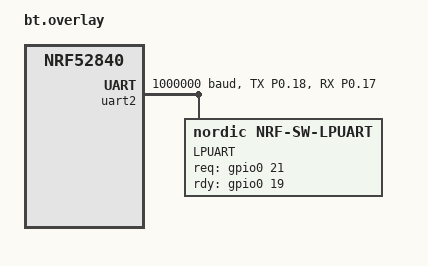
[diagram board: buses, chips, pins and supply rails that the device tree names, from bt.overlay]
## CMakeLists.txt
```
#
# Copyright (c) 2020 Nordic Semiconductor
#
# SPDX-License-Identifier: LicenseRef-Nordic-5-Clause
#

cmake_minimum_required(VERSION 3.20.0)

find_package(Zephyr REQUIRED HINTS $ENV{ZEPHYR_BASE})
project(MOSH)
target_include_directories(app PRIVATE
  ${CMAKE_CURRENT_SOURCE_DIR}/src
  ${CMAKE_CURRENT_SOURCE_DIR}/iperf
  ${CMAKE_CURRENT_SOURCE_DIR}/ping
  ${CMAKE_CURRENT_SOURCE_DIR}/utils)

target_sources(app PRIVATE src/main.c)
target_sources(app PRIVATE src/shell.c)

add_subdirectory(src/print)
add_subdirectory(src/utils)
add_subdirectory(src/uart)
add_subdirectory(src/at)
add_subdirectory_ifdef(CONFIG_MOSH_NRF91_NON_OFFLOADING_DEV src/drivers)
add_subdirectory_ifdef(CONFIG_MOSH_WORKER_THREADS src/th)
add_subdirectory_ifdef(CONFIG_MOSH_SOCK src/sock)
add_subdirectory_ifdef(CONFIG_MOSH_LINK src/link)
add_subdirectory_ifdef(CONFIG_MOSH_PING src/ping)
add_subdirectory_ifdef(CONFIG_MOSH_GNSS src/gnss)
add_subdirectory_ifdef(CONFIG_MOSH_SMS src/sms)
add_subdirectory_ifdef(CONFIG_MOSH_LOCATION src/location)
add_subdirectory_ifdef(CONFIG_MOSH_PPP src/ppp)
add_subdirectory_ifdef(CONFIG_MOSH_FOTA src/fota)
add_subdirectory_ifdef(CONFIG_MOSH_REST src/rest)
add_subdirectory_ifdef(CONFIG_MOSH_STARTUP_CMDS src/startup_cmd)
add_subdirectory(src/cloud)

zephyr_include_directories_ifdef(CONFIG_MEMFAULT config)

if(NOT ENV{PROJECT_NAME})
  zephyr_compile_definitions(
    PROJECT_NAME=${CMAKE_PROJECT_NAME}
  )
endif()
```

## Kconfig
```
#
# Copyright (c) 2020 Nordic Semiconductor ASA
#
# SPDX-License-Identifier: LicenseRef-Nordic-5-Clause
#

source "Kconfig.zephyr"

menu "Nordic Modem Shell config"

config MOSH_IPERF3
	bool "iPerf3"
	default y
	select NRF_IPERF3

config NRF_IPERF3_PROMPTLESS
	bool
	default y

config MOSH_SOCK
	bool "Socket tool"
	default y
	help
	  Socket tool with TCP, UDP, RAW, IPv4, IPv6 and packet socket support.

config MOSH_PING
	bool "ICMP ping"
	default y
	help
	  Ping is a tool for testing the reachability of a host on an IP network.

config MOSH_LINK
	bool "Link control"
	depends on LTE_LINK_CONTROL
	depends on MODEM_INFO
	depends on SETTINGS
	default y
	help
	  Link control changes and queries the state of the LTE connection.

config MOSH_CURL
	bool "cURL"
	default y
	select NRF_CURL

config NRF_CURL_PROMPTLESS
	bool
	default y

config MOSH_GNSS
	bool "GNSS"
	default y
	help
	  GNSS feature for searching the location of the device.

config MOSH_PPP
	bool "PPP"
	help
	  Point-to-Point Protocol for enabling dial-up access to the Internet.

config MOSH_SMS
	bool "SMS"
	default y
	help
	  SMS tool for sending and receiving SMS messages.

config MOSH_LOCATION
	bool "Location"
	default y
	select LOCATION
	select NRF_CLOUD_LOCATION if MOSH_CLOUD_MQTT && (LOCATION_METHOD_CELLULAR || LOCATION_METHOD_WIFI)
	help
	  Tool for location queries via location library.

config MOSH_FOTA
	bool "FOTA"
	default y
	help
	  FOTA for performing software updates over-the-air for both modem and application side.

config MOSH_REST
	bool "REST client"
	default y
	select REST_CLIENT
	help
	  REST client for sending and receiving simple REST requests/responses.

config MOSH_CLOUD_REST
	bool "nRFCloud commands over REST"
	default y
	select NRF_CLOUD_REST
	select MODEM_JWT
	select NRF_CLOUD_AGPS_FILTERED if NRF_CLOUD_AGPS && !NRF_CLOUD_MQTT
	select NRF_CLOUD_AGPS_FILTERED_RUNTIME if NRF_CLOUD_AGPS && !NRF_CLOUD_MQTT

config MOSH_CLOUD_MQTT
	bool "MQTT connection to nRFCloud"
	select NRF_CLOUD_MQTT
	help
	  MQTT connection to nRFCloud.

config MOSH_CLOUD_LWM2M
	bool "Cloud connection using LwM2M"
	help
	  Cloud connection using LwM2M.

config MOSH_AT_CMD_MODE
	bool "Specific AT command mode"
	default y

config MOSH_PRINT_BUFFER_SIZE
	int "Buffer size used when printing modem shell output"
	default 1024
	help
	  If the printed string exceeds this buffer, an error message is printed first and
	  then the requested string cut into the length of this buffer.

config MOSH_COMMON_WORKQUEUE_STACK_SIZE
	int "Common workqueue stack size"
	default 7168 if MOSH_CLOUD_REST || MOSH_CLOUD_MQTT
	default 6144 if MOSH_STARTUP_CMDS && MOSH_CURL
	default 4096

config MOSH_COMMON_WORKQUEUE_PRIORITY
	int "Common workqueue priority"
	default 5

if MOSH_IPERF3 || MOSH_PING
menu "MoSH iperf3 and ping command selections"

config MOSH_WORKER_THREADS
	bool "Possibility to run iperf3 or ping instances in separate threads"
	default y

config MOSH_STARTUP_CMDS
	bool "Possibility to run stored MoSh commands from settings after bootup"
	default y

config MOSH_NRF91_NON_OFFLOADING_DEV
	bool "Possibility to run iperf3 with Zephyr TCP/IP stack"

endmenu
endif

if MOSH_AT_CMD_MODE
choice
	prompt "Command termination"
	default MOSH_AT_CMD_MODE_CR_LF_TERMINATION
	help
		Sets the command termination ending from the serial terminal
		Levels are:
		-  NULL Termination
		-  CR Termination
		-  LF Termination
		-  CR+LF Termination
	config MOSH_AT_CMD_MODE_NULL_TERMINATION
		bool "NULL Termination"
	config MOSH_AT_CMD_MODE_CR_TERMINATION
		bool "CR Termination"
	config MOSH_AT_CMD_MODE_LF_TERMINATION
		bool "LF Termination"
	config MOSH_AT_CMD_MODE_CR_LF_TERMINATION
		bool "CR+LF Termination"
endchoice
config MOSH_AT_CMD_MODE_TERMINATION
	int
	default 0 if MOSH_AT_CMD_MODE_NULL_TERMINATION
	default 1 if MOSH_AT_CMD_MODE_CR_TERMINATION
	default 2 if MOSH_AT_CMD_MODE_LF_TERMINATION
	default 3 if MOSH_AT_CMD_MODE_CR_LF_TERMINATION
endif

if MOSH_LINK
menu "MoSH link control selections"

config MOSH_LINK_SETT_NORMAL_MODE_AT_CMD_STR_LEN
	int "Link settings AT command length"
	default 127
	help
	  String length for custom AT commands stored into settings to be used
	  when going to normal mode.

endmenu
endif #MOSH_LINK

if MOSH_WORKER_THREADS

config MOSH_WORKER_THREADS_OUTPUT_BUFFER_SIZE
	int "Buffer size for storing output of the background thread commands"
	default 4096

config MOSH_WORKER_THREADS_STACK_SIZE
	int "Worker thread stack size"
	default 4096

endif #MOSH_WORKER_THREADS

if MOSH_CLOUD_LWM2M

config MOSH_LWM2M_PSK
	string "LwM2M pre-shared key for communication"
	help
	  Pre-shared key must be identical to the PSK registered with the device on the LwM2M server.
	  Use the hexadecimal representation.

config MOSH_LWM2M_ENDPOINT_PREFIX
	string "Prefix used in the LwM2M endpoint name"
	default "urn:imei:"
	help
	  Sets the prefix of the endpoint name used when connecting to the LwM2M server.

# Make AVSystem the default LwM2M server.
config LWM2M_CLIENT_UTILS_SERVER
	string "LwM2M server address"
	default "coaps://eu.iot.avsystem.cloud:5684"
	help
	  Kconfig redefinition, please see the help text of the original definition.

endif # MOSH_CLOUD_LWM2M

endmenu # Modem Shell
```

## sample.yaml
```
sample:
  name: modem_shell Sample
tests:
  sample.nrf9160.modem_shell:
    build_only: true
    integration_platforms:
      - nrf9160dk_nrf9160_ns
      - nrf9161dk_nrf9161_ns
    platform_allow: nrf9160dk_nrf9160_ns nrf9161dk_nrf9161_ns
    tags: ci_build
  sample.nrf9160.modem_shell_debug:
    build_only: true
    extra_args: OVERLAY_CONFIG=overlay-debug.conf
    integration_platforms:
      - nrf9160dk_nrf9160_ns
      - nrf9161dk_nrf9161_ns
    platform_allow: nrf9160dk_nrf9160_ns nrf9161dk_nrf9161_ns
    tags: ci_build
  sample.nrf9160.modem_shell.cloud_mqtt_only:
    build_only: true
    extra_args: OVERLAY_CONFIG=overlay-cloud_mqtt.conf
    integration_platforms:
      - nrf9160dk_nrf9160_ns
      - nrf9161dk_nrf9161_ns
    platform_allow: nrf9160dk_nrf9160_ns nrf9161dk_nrf9161_ns
    tags: ci_build
  sample.nrf9160.modem_shell.cloud_mqtt_rest:
    build_only: true
    extra_args: CONFIG_MOSH_CLOUD_MQTT=y CONFIG_MOSH_CLOUD_REST=y
    integration_platforms:
      - nrf9160dk_nrf9160_ns
      - nrf9161dk_nrf9161_ns
    platform_allow: nrf9160dk_nrf9160_ns nrf9161dk_nrf9161_ns
    tags: ci_build
  sample.nrf9160.modem_shell.non_offloading_ip:
    build_only: true
    extra_args: OVERLAY_CONFIG=overlay-non-offloading.conf
    integration_platforms:
      - nrf9160dk_nrf9160_ns
      - nrf9161dk_nrf9161_ns
    platform_allow: nrf9160dk_nrf9160_ns nrf9161dk_nrf9161_ns
    tags: ci_build
  sample.nrf9160.modem_shell.nrf7002ek_wifi:
    build_only: true
    integration_platforms:
      - nrf9160dk_nrf9160_ns
      - nrf9161dk_nrf9161_ns
    platform_allow: nrf9160dk_nrf9160_ns nrf9161dk_nrf9161_ns
    extra_args: SHIELD=nrf7002ek OVERLAY_CONFIG=overlay-nrf7002ek-wifi-scan-only.conf
                DTC_OVERLAY_FILE="nrf9160dk_with_nrf7002ek.overlay"
    tags: ci_build
  sample.nrf9160.modem_shell.nrf7000ek_wifi:
    build_only: true
    integration_platforms:
      - nrf9160dk_nrf9160_ns
      - nrf9161dk_nrf9161_ns
    platform_allow: nrf9160dk_nrf9160_ns nrf9161dk_nrf9161_ns
    extra_args: SHIELD=nrf7002ek_nrf7000 OVERLAY_CONFIG=overlay-nrf7002ek-wifi-scan-only.conf
                DTC_OVERLAY_FILE="nrf9160dk_with_nrf7002ek.overlay" CONFIG_WPA_SUPP=n
    tags: ci_build
  sample.nrf9160.modem_shell.nrf7001ek_wifi:
    build_only: true
    integration_platforms:
      - nrf9160dk_nrf9160_ns
      - nrf9161dk_nrf9161_ns
    platform_allow: nrf9160dk_nrf9160_ns nrf9161dk_nrf9161_ns
    extra_args: SHIELD=nrf7002ek_nrf7001 OVERLAY_CONFIG=overlay-nrf7002ek-wifi-scan-only.conf
                DTC_OVERLAY_FILE="nrf9160dk_with_nrf7002ek.overlay"
    tags: ci_build
  sample.nrf9160.modem_shell.nrf7002ek_wifi-debug:
    build_only: true
    integration_platforms:
      - nrf9160dk_nrf9160_ns
      - nrf9161dk_nrf9161_ns
    platform_allow: nrf9160dk_nrf9160_ns nrf9161dk_nrf9161_ns
    extra_args: SHIELD=nrf7002ek
                OVERLAY_CONFIG="overlay-nrf7002ek-wifi-scan-only.conf;overlay-debug.conf"
                DTC_OVERLAY_FILE="nrf9160dk_with_nrf7002ek.overlay"
    tags: ci_build
  sample.nrf9160.modem_shell.esp_wifi:
    build_only: true
    extra_args: OVERLAY_CONFIG=overlay-esp-wifi.conf DTC_OVERLAY_FILE="esp_8266_nrf9160ns.overlay"
    integration_platforms:
      - nrf9160dk_nrf9160_ns
      - nrf9161dk_nrf9161_ns
    platform_allow: nrf9160dk_nrf9160_ns nrf9161dk_nrf9161_ns
    tags: ci_build
  sample.nrf9160.modem_shell.fota:
    build_only: true
    extra_args: OVERLAY_CONFIG=overlay-app_fota.conf
    integration_platforms:
      - nrf9160dk_nrf9160_ns
      - nrf9161dk_nrf9161_ns
    platform_allow: nrf9160dk_nrf9160_ns nrf9161dk_nrf9161_ns
    tags: ci_build
  sample.nrf9160.modem_shell.carrier:
    build_only: true
    extra_args: OVERLAY_CONFIG=overlay-carrier.conf
    integration_platforms:
      - nrf9160dk_nrf9160_ns
      - nrf9161dk_nrf9161_ns
    platform_allow: nrf9160dk_nrf9160_ns nrf9161dk_nrf9161_ns
    tags: ci_build
  sample.nrf9160.modem_shell.lwm2m:
    build_only: true
    extra_configs:
      - CONFIG_MOSH_LWM2M_PSK="000102030405060708090a0b0c0d0e0f"
    extra_args: OVERLAY_CONFIG=overlay-lwm2m.conf
    integration_platforms:
      - nrf9160dk_nrf9160_ns
      - nrf9161dk_nrf9161_ns
    platform_allow: nrf9160dk_nrf9160_ns nrf9161dk_nrf9161_ns
    tags: ci_build
  sample.nrf9160.modem_shell.lwm2m_bootstrap:
    build_only: true
    extra_configs:
      - CONFIG_MOSH_LWM2M_PSK="000102030405060708090a0b0c0d0e0f"
    extra_args: OVERLAY_CONFIG="overlay-lwm2m.conf;overlay-lwm2m_bootstrap.conf"
    integration_platforms:
      - nrf9160dk_nrf9160_ns
      - nrf9161dk_nrf9161_ns
    platform_allow: nrf9160dk_nrf9160_ns nrf9161dk_nrf9161_ns
    tags: ci_build
  sample.nrf9160.modem_shell.lwm2m_pgps:
    build_only: true
    extra_configs:
      - CONFIG_MOSH_LWM2M_PSK="000102030405060708090a0b0c0d0e0f"
    extra_args: OVERLAY_CONFIG="overlay-lwm2m.conf;overlay-lwm2m_pgps.conf;overlay-pgps.conf"
    integration_platforms:
      - nrf9160dk_nrf9160_ns
      - nrf9161dk_nrf9161_ns
    platform_allow: nrf9160dk_nrf9160_ns nrf9161dk_nrf9161_ns
    tags: ci_build
  sample.nrf9160.modem_shell.pgps:
    build_only: true
    extra_args: OVERLAY_CONFIG=overlay-pgps.conf
    integration_platforms:
      - nrf9160dk_nrf9160_ns
      - nrf9161dk_nrf9161_ns
    platform_allow: nrf9160dk_nrf9160_ns nrf9161dk_nrf9161_ns
    tags: ci_build
  sample.nrf9160.modem_shell.location_service_ext:
    build_only: true
    extra_configs:
      - CONFIG_LOCATION_SERVICE_EXTERNAL=y
    extra_args: OVERLAY_CONFIG=overlay-cloud_mqtt.conf
    integration_platforms:
      - nrf9160dk_nrf9160_ns
      - nrf9161dk_nrf9161_ns
    platform_allow: nrf9160dk_nrf9160_ns nrf9161dk_nrf9161_ns
    tags: ci_build
  sample.nrf9160.modem_shell.location_service_ext_pgps_nrf7002ek_wifi:
    build_only: true
    extra_configs:
      - CONFIG_LOCATION_SERVICE_EXTERNAL=y
      - CONFIG_NRF_CLOUD_PGPS_TRANSPORT_NONE=y
    extra_args: SHIELD=nrf7002ek
                OVERLAY_CONFIG="overlay-cloud_mqtt.conf;overlay-pgps.conf;overlay-nrf7002ek-wifi-scan-only.conf"
                DTC_OVERLAY_FILE="nrf9160dk_with_nrf7002ek.overlay"
    integration_platforms:
      - nrf9160dk_nrf9160_ns
      - nrf9161dk_nrf9161_ns
    platform_allow: nrf9160dk_nrf9160_ns nrf9161dk_nrf9161_ns
    tags: ci_build
  sample.nrf9160.modem_shell.ppp:
    build_only: true
    extra_args: OVERLAY_CONFIG=overlay-ppp.conf DTC_OVERLAY_FILE="ppp.overlay"
    integration_platforms:
      - nrf9160dk_nrf9160_ns
      - nrf9161dk_nrf9161_ns
    platform_allow: nrf9160dk_nrf9160_ns nrf9161dk_nrf9161_ns
    tags: ci_build
  sample.nrf9160.modem_shell.bt:
    build_only: true
    extra_args: OVERLAY_CONFIG=overlay-bt.conf DTC_OVERLAY_FILE="bt.overlay"
    integration_platforms:
      - nrf9160dk_nrf9160_ns
    platform_allow: nrf9160dk_nrf9160_ns
    tags: ci_build
  sample.nrf9160.modem_shell.rtt:
    build_only: true
    extra_args: OVERLAY_CONFIG=overlay-rtt.conf
    integration_platforms:
      - nrf9160dk_nrf9160_ns
      - nrf9161dk_nrf9161_ns
    platform_allow: nrf9160dk_nrf9160_ns nrf9161dk_nrf9161_ns
    tags: ci_build
  sample.nrf9160.modem_shell.thingy91:
    build_only: true
    integration_platforms:
      - thingy91_nrf9160_ns
    platform_allow: thingy91_nrf9160_ns
    tags: ci_build
  sample.nrf9160.modem_shell.memfault_modem_trace:
    build_only: true
    integration_platforms:
      - nrf9160dk_nrf9160_ns
    platform_allow: nrf9160dk_nrf9160_ns
    extra_args: OVERLAY_CONFIG="overlay-modem-trace-flash.conf;overlay-memfault.conf"
                DTC_OVERLAY_FILE="nrf9160dk_ext_flash.overlay"
    extra_configs:
      - CONFIG_MEMFAULT_NCS_PROJECT_KEY="0123456789abcdef0123456789abcdef"
    tags: ci_build
  sample.nrf9161.modem_shell.memfault_modem_trace:
    build_only: true
    integration_platforms:
      - nrf9161dk_nrf9161_ns
    platform_allow: nrf9161dk_nrf9161_ns
    extra_args: OVERLAY_CONFIG="overlay-modem-trace-flash.conf;overlay-memfault.conf"
                DTC_OVERLAY_FILE="nrf9161dk_ext_flash.overlay"
    extra_configs:
      - CONFIG_MEMFAULT_NCS_PROJECT_KEY="0123456789abcdef0123456789abcdef"
    tags: ci_build
  sample.nrf9160.modem_shell.memfault_modem_trace_ram:
    build_only: true
    integration_platforms:
      - nrf9160dk_nrf9160_ns
      - nrf9161dk_nrf9161_ns
    platform_allow: nrf9160dk_nrf9160_ns nrf9161dk_nrf9161_ns
    extra_args: OVERLAY_CONFIG="overlay-modem-trace-ram.conf;overlay-memfault.conf"
    extra_configs:
      - CONFIG_MEMFAULT_NCS_PROJECT_KEY="0123456789abcdef0123456789abcdef"
    tags: ci_build

  # Configurations for different location method combinations
  sample.nrf9160.modem_shell.location_gnss_wifi_no_cellular:
    build_only: true
    integration_platforms:
      - nrf9160dk_nrf9160_ns
      - nrf9161dk_nrf9161_ns
    platform_allow: nrf9160dk_nrf9160_ns nrf9161dk_nrf9161_ns
    extra_configs:
      - CONFIG_LOCATION_METHOD_GNSS=y
      - CONFIG_LOCATION_METHOD_CELLULAR=n
      - CONFIG_LOCATION_METHOD_WIFI=y
    extra_args: SHIELD=nrf7002ek OVERLAY_CONFIG=overlay-nrf7002ek-wifi-scan-only.conf
                DTC_OVERLAY_FILE="nrf9160dk_with_nrf7002ek.overlay"
    tags: ci_build
  sample.nrf9160.modem_shell.location_wifi_cellular_no_gnss:
    build_only: true
    integration_platforms:
      - nrf9160dk_nrf9160_ns
      - nrf9161dk_nrf9161_ns
    platform_allow: nrf9160dk_nrf9160_ns nrf9161dk_nrf9161_ns
    extra_configs:
      - CONFIG_LOCATION_METHOD_GNSS=n
      - CONFIG_LOCATION_METHOD_CELLULAR=y
      - CONFIG_LOCATION_METHOD_WIFI=y
    extra_args: SHIELD=nrf7002ek OVERLAY_CONFIG=overlay-nrf7002ek-wifi-scan-only.conf
                DTC_OVERLAY_FILE="nrf9160dk_with_nrf7002ek.overlay"
    tags: ci_build
  sample.nrf9160.modem_shell.location_wifi_no_cellular_no_gnss:
    build_only: true
    integration_platforms:
      - nrf9160dk_nrf9160_ns
      - nrf9161dk_nrf9161_ns
    platform_allow: nrf9160dk_nrf9160_ns nrf9161dk_nrf9161_ns
    extra_configs:
      - CONFIG_LOCATION_METHOD_GNSS=n
      - CONFIG_LOCATION_METHOD_CELLULAR=n
      - CONFIG_LOCATION_METHOD_WIFI=y
    extra_args: SHIELD=nrf7002ek OVERLAY_CONFIG=overlay-nrf7002ek-wifi-scan-only.conf
                DTC_OVERLAY_FILE="nrf9160dk_with_nrf7002ek.overlay"
    tags: ci_build
  sample.nrf9160.modem_shell.location_gnss_no_wifi_no_cellular:
    build_only: true
    integration_platforms:
      - nrf9160dk_nrf9160_ns
      - nrf9161dk_nrf9161_ns
    platform_allow: nrf9160dk_nrf9160_ns nrf9161dk_nrf9161_ns
    extra_configs:
      - CONFIG_LOCATION_METHOD_GNSS=y
      - CONFIG_LOCATION_METHOD_CELLULAR=n
      - CONFIG_LOCATION_METHOD_WIFI=n
    tags: ci_build
  sample.nrf9160.modem_shell.location_cellular_no_wifi_no_gnss:
    build_only: true
    integration_platforms:
      - nrf9160dk_nrf9160_ns
      - nrf9161dk_nrf9161_ns
    platform_allow: nrf9160dk_nrf9160_ns nrf9161dk_nrf9161_ns
    extra_configs:
      - CONFIG_LOCATION_METHOD_GNSS=n
      - CONFIG_LOCATION_METHOD_CELLULAR=y
      - CONFIG_LOCATION_METHOD_WIFI=n
    tags: ci_build

  # Configurations with modem UART traces to make sure they fit into image.
  # Basic UART trace configuration is tested in sample.nrf9160.modem_shell.integration_config.
  sample.nrf9160.modem_shell_modem_uart_trace:
    build_only: true
    extra_args: CONFIG_NRF_MODEM_LIB_TRACE=y
    integration_platforms:
      - nrf9160dk_nrf9160_ns
      - nrf9161dk_nrf9161_ns
    platform_allow: nrf9160dk_nrf9160_ns nrf9161dk_nrf9161_ns
    tags: ci_build
  sample.nrf9160.modem_shell.non_offloading_ip_modem_uart_trace:
    build_only: true
    extra_args: OVERLAY_CONFIG=overlay-non-offloading.conf CONFIG_NRF_MODEM_LIB_TRACE=y
    integration_platforms:
      - nrf9160dk_nrf9160_ns
      - nrf9161dk_nrf9161_ns
    platform_allow: nrf9160dk_nrf9160_ns nrf9161dk_nrf9161_ns
    tags: ci_build
  sample.nrf9160.modem_shell.thingy91_modem_uart_trace:
    build_only: true
    extra_args: CONFIG_NRF_MODEM_LIB_TRACE=y
    integration_platforms:
      - thingy91_nrf9160_ns
    platform_allow: thingy91_nrf9160_ns
    tags: ci_build

  # Configuration which will be used by the CI integration job to verify PRs
  sample.nrf9160.modem_shell.integration_config:
    build_only: true
    extra_configs:
      - CONFIG_LTE_NETWORK_MODE_LTE_M=y
      - CONFIG_MODEM_ANTENNA_GNSS_EXTERNAL=y
      - CONFIG_NRF_MODEM_LIB_TRACE=y
    integration_platforms:
      - nrf9160dk_nrf9160_ns
    platform_allow: nrf9160dk_nrf9160_ns nrf9161dk_nrf9161_ns
    tags: ci_build
```

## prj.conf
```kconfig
#
# Copyright (c) 2020 Nordic Semiconductor ASA
#
# SPDX-License-Identifier: LicenseRef-Nordic-5-Clause
#
# General config

CONFIG_MOSH_IPERF3=y
CONFIG_MOSH_SOCK=y
CONFIG_MOSH_PING=y
CONFIG_MOSH_CURL=y
CONFIG_MOSH_LINK=y
CONFIG_MOSH_SMS=y
CONFIG_MOSH_GNSS=y
CONFIG_MOSH_LOCATION=y

# Stacks and heaps
CONFIG_MAIN_STACK_SIZE=4096
CONFIG_HEAP_MEM_POOL_SIZE=8192

# System queue is used e.g. by AT monitor and SMS lib
CONFIG_SYSTEM_WORKQUEUE_STACK_SIZE=2048

# Shell configurations
CONFIG_SHELL=y
CONFIG_SHELL_WILDCARD=n
CONFIG_SHELL_PROMPT_UART="mosh:~$ "
CONFIG_SHELL_ARGC_MAX=40
# Command line buffer is set this large to enable writing of certificates and injecting A-GPS data on command line.
CONFIG_SHELL_CMD_BUFF_SIZE=3584
# Shell stack has impact for modem shell application, not CONFIG_MAIN_STACK_SIZE
CONFIG_SHELL_STACK_SIZE=9216
# Shell RX buffer needs to be increased to avoid problems with test automation
CONFIG_SHELL_BACKEND_SERIAL_RX_RING_BUFFER_SIZE=512
# LTE shell is unnecessary with Modem Shell
CONFIG_LTE_SHELL=n
# Enable use of vsnprintfcb() for extending mosh_print() format
CONFIG_CBPRINTF_LIBC_SUBSTS=y

CONFIG_MINIMAL_LIBC=n
CONFIG_NEWLIB_LIBC=y
CONFIG_NEWLIB_LIBC_FLOAT_SCANF=y
CONFIG_NEWLIB_LIBC_FLOAT_PRINTF=y
CONFIG_FPU=y
CONFIG_CJSON_LIB=y

# Getopt
CONFIG_GETOPT_LIB=y
# Need to disable devmem shell since it enforces Zephyr's internal version of getopt
CONFIG_DEVMEM_SHELL=n

# Device power management
CONFIG_PM_DEVICE=y

# Modem info
CONFIG_MODEM_INFO=y

# Modem key management
CONFIG_MODEM_KEY_MGMT=y

# Network
CONFIG_NETWORKING=y
CONFIG_NET_NATIVE=n
CONFIG_NET_SOCKETS=y
CONFIG_NET_SOCKETS_OFFLOAD=y
CONFIG_NET_SOCKETS_POSIX_NAMES=n
# Native IPv6 is enabled by default, disable it because we don't need it
CONFIG_NET_IPV6=n

CONFIG_POSIX_API=y
CONFIG_PTHREAD_IPC=n # There are issues with posix api if this is set
CONFIG_POSIX_MAX_FDS=10
# Need to be the same as MAX_FDS
CONFIG_NET_SOCKETS_POLL_MAX=10

# Modem library
CONFIG_NRF_MODEM_LIB=y
CONFIG_NRF_MODEM_LIB_SHMEM_TX_SIZE=22528
CONFIG_NRF_MODEM_LIB_SHMEM_RX_SIZE=8192
CONFIG_NRF_MODEM_LIB_ON_FAULT_APPLICATION_SPECIFIC=y
# Enable modem UART traces
CONFIG_NRF_MODEM_LIB_TRACE=n

# AT monitor library
CONFIG_AT_MONITOR=y

# Increase AT monitor heap because %NCELLMEAS notifications can be long.
# Note: with legacy NCELLMEAS types, 512 is enough, but with GCI search types
# it could be even longer: theoretical maximum of 4020 bytes.
CONFIG_AT_MONITOR_HEAP_SIZE=4096

# PDN library
CONFIG_PDN=y
CONFIG_PDN_ESM_STRERROR=y

# SMS
CONFIG_SMS=y

# LTE link control
CONFIG_LTE_LINK_CONTROL=y
CONFIG_LTE_NETWORK_MODE_LTE_M_GPS=y
CONFIG_LTE_MODE_PREFERENCE_AUTO=y

CONFIG_LTE_AUTO_INIT_AND_CONNECT=n
CONFIG_LTE_NETWORK_USE_FALLBACK=n

#MOSH is having own commands to enable these at runtime:
CONFIG_LTE_LC_MODEM_SLEEP_NOTIFICATIONS=n
CONFIG_LTE_LC_TAU_PRE_WARNING_NOTIFICATIONS=n

#Minimum values for thresholds:
CONFIG_LTE_LC_TAU_PRE_WARNING_THRESHOLD_MS=10240
CONFIG_LTE_LC_MODEM_SLEEP_NOTIFICATIONS_THRESHOLD_MS=10240

# Configurations useful for debugging and development that user can enable when needed
#CONFIG_LTE_LOCK_PLMN=y
#CONFIG_LTE_LOCK_PLMN_STRING="24488"
#CONFIG_LTE_NETWORK_MODE_LTE_M_GPS=y

CONFIG_DATE_TIME=y

# nRF Cloud A-GPS, disable this in case you want to enable SUPL below
CONFIG_NRF_CLOUD_AGPS=y

# SUPL A-GPS support, needs the nRF9160 SiP SUPL client library from nRF9160 DK product page
#CONFIG_SUPL_CLIENT_LIB=y

# Cellular positioning
CONFIG_LTE_NEIGHBOR_CELLS_MAX=17

# Cellular positioning services
#CONFIG_LOCATION_SERVICE_NRF_CLOUD=n
#CONFIG_LOCATION_SERVICE_HERE=y
#CONFIG_LOCATION_SERVICE_HERE_API_KEY=""

# Library for buttons and LEDs
CONFIG_DK_LIBRARY=y

# FOTA
CONFIG_FLASH=y
CONFIG_REBOOT=y
CONFIG_DFU_TARGET=y
CONFIG_FOTA_DOWNLOAD=y
CONFIG_DOWNLOAD_CLIENT=y
# BOOTLOADER_MCUBOOT reduces usable flash size by half so it's disabled by default
# This means application FOTA is disabled. Modem FOTA works without these.
CONFIG_BOOTLOADER_MCUBOOT=n
CONFIG_IMG_MANAGER=n
CONFIG_IMG_ERASE_PROGRESSIVELY=n

# Settings
CONFIG_FLASH=y
CONFIG_FLASH_MAP=y
CONFIG_MPU_ALLOW_FLASH_WRITE=y
CONFIG_NVS=y
CONFIG_SETTINGS=y
CONFIG_SETTINGS_NVS=y
CONFIG_NVS_LOG_LEVEL_WRN=y

# Debugging configurations
CONFIG_ASSERT=y
CONFIG_LOG=y
# Keep printk() synchronous
CONFIG_LOG_PRINTK=n
CONFIG_DEBUG_INFO=y
#CONFIG_DEBUG_OPTIMIZATIONS=y
#CONFIG_NO_OPTIMIZATIONS=y
#CONFIG_FORCE_NO_ASSERT=y
CONFIG_ASSERT_VERBOSE=y
#CONFIG_ASSERT_LEVEL=2
#CONFIG_ASSERT_ON_ERRORS=y
#CONFIG_FAULT_DUMP=2
CONFIG_RESET_ON_FATAL_ERROR=n
CONFIG_EXTRA_EXCEPTION_INFO=y
#CONFIG_WATCHDOG=y
CONFIG_SYS_HEAP_RUNTIME_STATS=y
```

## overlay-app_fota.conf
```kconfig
#
# Copyright (c) 2020 Nordic Semiconductor
#
# SPDX-License-Identifier: LicenseRef-Nordic-5-Clause
#

# Some of the MoSh features need to be switched off to free enough flash
CONFIG_MOSH_IPERF3=n
CONFIG_MOSH_CURL=n
CONFIG_MOSH_REST=n
CONFIG_MOSH_WORKER_THREADS=n
CONFIG_MOSH_LOCATION=n

CONFIG_BOOTLOADER_MCUBOOT=y
CONFIG_IMG_MANAGER=y
CONFIG_IMG_ERASE_PROGRESSIVELY=y
```

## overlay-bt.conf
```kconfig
# Disable Modem traces
CONFIG_NRF_MODEM_LIB_TRACE_ENABLED=n
CONFIG_TFM_SECURE_UART1=n

#UART2 towards nRF52840
CONFIG_UART_INTERRUPT_DRIVEN=y
CONFIG_NRF_SW_LPUART=y
CONFIG_UART_INTERRUPT_DRIVEN=y
CONFIG_UART_2_ASYNC=y
CONFIG_UART_2_INTERRUPT_DRIVEN=n
CONFIG_UART_2_NRF_HW_ASYNC=y
CONFIG_UART_2_NRF_HW_ASYNC_TIMER=2

CONFIG_BT=y
CONFIG_BT_COMPANY_ID=0x0059
CONFIG_BT_DEVICE_NAME="mosh"
CONFIG_BT_DEVICE_NAME_DYNAMIC=y

CONFIG_BT_H4=y
CONFIG_BT_HCI=y

CONFIG_BT_BROADCASTER=y
CONFIG_BT_OBSERVER=y

CONFIG_BT_DEBUG_NONE=y
#CONFIG_BT_DEBUG_LOG=y
CONFIG_BT_LOG_LEVEL_OFF=y
#CONFIG_BT_DEBUG_HCI_CORE=y
CONFIG_BT_SHELL=y

# Heap and stacks
CONFIG_SYSTEM_WORKQUEUE_STACK_SIZE=4096
CONFIG_MAIN_STACK_SIZE=8192
```

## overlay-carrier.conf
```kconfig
#
# Copyright (c) 2020 Nordic Semiconductor
#
# SPDX-License-Identifier: LicenseRef-Nordic-5-Clause
#

CONFIG_LWM2M_CARRIER=y
CONFIG_LWM2M_CARRIER_SETTINGS=y
CONFIG_LWM2M_CARRIER_SHELL=y

# Workaround for known issue NCSDK-16916.
# Set the size of the storage partition to a multiple of CONFIG_NRF_SPU_FLASH_REGION_SIZE.
CONFIG_LWM2M_CARRIER_STORAGE_AREA_SIZE=0x8000

CONFIG_FLASH=y
CONFIG_FLASH_PAGE_LAYOUT=y

CONFIG_MPU_ALLOW_FLASH_WRITE=y

CONFIG_NVS=y
CONFIG_NVS_LOG_LEVEL_OFF=y

CONFIG_DOWNLOAD_CLIENT=y

CONFIG_MODEM_KEY_MGMT=y

CONFIG_REBOOT=y

# Some of the MoSh features need to be switched off to free enough flash
CONFIG_MOSH_REST=n
CONFIG_MOSH_WORKER_THREADS=n

# Also modem shell FOTA support needs to be disabled
CONFIG_MOSH_FOTA=n
CONFIG_BOOTLOADER_MCUBOOT=n
CONFIG_IMG_MANAGER=n
CONFIG_IMG_ERASE_PROGRESSIVELY=n
```

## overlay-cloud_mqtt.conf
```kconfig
#
# Copyright (c) 2021 Nordic Semiconductor
#
# SPDX-License-Identifier: LicenseRef-Nordic-5-Clause
#

# Modem Shell
CONFIG_MOSH_CLOUD_MQTT=y
CONFIG_MOSH_CLOUD_REST=n
```

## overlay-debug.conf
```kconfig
#
# Copyright (c) 2022 Nordic Semiconductor ASA
#
# SPDX-License-Identifier: LicenseRef-Nordic-5-Clause
#

# Forces a maximal log level for all modules.
# Modules saturates their specified level if it is greater than this option,
# otherwise they use the level specified by this option instead of their default
# or whatever was manually set. Levels are:
#
# 0 OFF, logging is turned off
# 1 ERROR, maximal level set to LOG_LEVEL_ERR
# 2 WARNING, maximal level set to LOG_LEVEL_WRN
# 3 INFO, maximal level set to LOG_LEVEL_INFO
# 4 DEBUG, maximal level set to LOG_LEVEL_DBG
CONFIG_LOG_MAX_LEVEL=4

# Increase log buffer size to prevent logs being dropped.
CONFIG_LOG_BUFFER_SIZE=2048

# LTE link control library
CONFIG_LTE_LINK_CONTROL_LOG_LEVEL_DBG=y

# Location library
CONFIG_LOCATION_LOG_LEVEL_DBG=y

# SMS library
CONFIG_SMS_LOG_LEVEL_DBG=y

# nRF Cloud
CONFIG_NRF_CLOUD_LOG_LEVEL_DBG=y
CONFIG_NRF_CLOUD_GPS_LOG_LEVEL_DBG=y
CONFIG_NRF_CLOUD_REST_LOG_LEVEL_DBG=y

# REST client library
CONFIG_REST_CLIENT_LOG_LEVEL_DBG=y

# Date time
CONFIG_DATE_TIME_LOG_LEVEL_DBG=y

# Settings
CONFIG_SETTINGS_LOG_LEVEL_DBG=y
```

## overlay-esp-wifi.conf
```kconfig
# Need to disable iper3 worker thread support to have more SRAM
CONFIG_MOSH_WORKER_THREADS=n

# Extended memory heap size needed for encoding REST messages (including possible long ssid) to JSON
CONFIG_HEAP_MEM_POOL_SIZE=13312

# ESP 8266 Wi-Fi
CONFIG_WIFI=y
CONFIG_WIFI_OFFLOAD=y
CONFIG_NET_MGMT_EVENT_STACK_SIZE=1024

# Needed for ESP8266 to compile
CONFIG_NET_IPV4=y
CONFIG_NET_IPV6=y
CONFIG_NET_NATIVE=y

CONFIG_NET_SHELL=y
CONFIG_NET_L2_WIFI_SHELL=y
# Should be set when CONFIG_NET_L2_WIFI_SHELL is enabled.
# Printing 'wifi scan' command results puts pressure on queues in new locking design in net_mgmt.
# So, use a typical number of networks in a crowded environment as the queue depth.
CONFIG_NET_MGMT_EVENT_QUEUE_SIZE=50

CONFIG_WIFI_ESP_AT=y
CONFIG_WIFI_ESP_AT_SCAN_MAC_ADDRESS=y
CONFIG_WIFI_ESP_AT_SCAN_PASSIVE=n
CONFIG_WIFI_ESP_AT_VERSION_1_7=y
CONFIG_WIFI_ESP_AT_SCAN_RESULT_RSSI_ORDERED=y

CONFIG_LOCATION_METHOD_WIFI=y

CONFIG_LOCATION_SERVICE_NRF_CLOUD=y

#CONFIG_LOCATION_SERVICE_HERE=y
#CONFIG_LOCATION_SERVICE_HERE_API_KEY="Your api key"
```

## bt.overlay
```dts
/*
 * Copyright (c) 2022 Nordic Semiconductor ASA
 *
 * SPDX-License-Identifier: LicenseRef-Nordic-5-Clause
 */

#include <nrf9160dk_nrf52840_reset_on_if5.dtsi>

/ {
	chosen {
		zephyr,bt-uart=&lpuart;
	};
};

&gpiote {
	interrupts = <49 NRF_DEFAULT_IRQ_PRIORITY>;
};

&uart2 {
	current-speed = <1000000>;
	status = "okay";
	/delete-property/ rts-pin;
	/delete-property/ cts-pin;
	/delete-property/ hw-flow-control;

	pinctrl-0 = <&uart2_default_alt>;
	pinctrl-1 = <&uart2_sleep_alt>;
	lpuart: nrf-sw-lpuart {
		compatible = "nordic,nrf-sw-lpuart";
		status = "okay";
		label = "LPUART";
		req-gpios = <&gpio0 21 0>; /* <&interface_to_nrf52840 3 0>; */
		rdy-gpios = <&gpio0 19 0>; /* <&interface_to_nrf52840 2 0>; */
	};
};
&uart1 {
	status = "disabled";
};

&pinctrl {
	uart2_default_alt: uart2_default_alt {
		group1 {
			psels = <NRF_PSEL(UART_TX, 0, 18)>,
				<NRF_PSEL(UART_RX, 0, 17)>;
		};
	};

	uart2_sleep_alt: uart2_sleep_alt {
		group1 {
			psels = <NRF_PSEL(UART_TX, 0, 18)>,
				<NRF_PSEL(UART_RX, 0, 17)>;
			low-power-enable;
		};
	};
};
```

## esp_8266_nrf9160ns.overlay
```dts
/* Copyright (c) 2021-2022 Nordic Semiconductor ASA
 *
 * SPDX-License-Identifier: LicenseRef-Nordic-5-Clause
 */

 /*
  * DTS overlay to be used when connecting nRF9160 DK with ESP8266-01 using
  * the esp_at driver.
  *
  * https://en.wikipedia.org/wiki/ESP8266
  *
  * Wiring:
  * - Slide (SW9) to enable 3V mode.
  * - ESP8266 RX → DK P0.10 (TX)
  * - ESP8266 TX → DK P0.16 (RX)
  * - ESP8266 VCC → DK VDD
  * - ESP8266 CH_PD → DK VDD
  * - ESP8266 GND → DK GND.
  *
  * Compilation with SW overlay:
  * 'west build -p -b nrf9160dk_nrf9160_ns -- -DDTC_OVERLAY_FILE=esp_8266_nrf9160ns.overlay -DOVERLAY_CONFIG="overlay-esp-wifi.conf"'
  */

&uart3 {
	status = "okay";
	current-speed = <115200>;

	pinctrl-0 = <&uart3_default_alt>;
	pinctrl-1 = <&uart3_sleep_alt>;
	pinctrl-names = "default", "sleep";
	esp8266: esp8266 {
		compatible = "espressif,esp-at";
		label = "esp8266";
		status = "okay";
	};
};

&pinctrl {
	uart3_default_alt: uart3_default_alt {
		group1 {
			psels = <NRF_PSEL(UART_TX, 0, 10)>,
				<NRF_PSEL(UART_RX, 0, 16)>;
		};
	};

	uart3_sleep_alt: uart3_sleep_alt {
		group1 {
			psels = <NRF_PSEL(UART_TX, 0, 10)>,
				<NRF_PSEL(UART_RX, 0, 16)>;
			low-power-enable;
		};
	};

};

/ {
	chosen {
		ncs,location-wifi = &esp8266;
	};
};
```

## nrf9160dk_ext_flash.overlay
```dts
/*
 * Copyright (c) 2023 Nordic Semiconductor ASA
 *
 * SPDX-License-Identifier: LicenseRef-Nordic-5-Clause
 */

 /* The mx25r64 definition would normally be included when specifying a nrf9160dk_nrf9160_ns
  * board revision >= 0.14.0, but unfortunately twister has a bug that prevents the revision
  * overlay to get loaded when testing the sample. */
&spi3 {
	cs-gpios = <&arduino_header 16 GPIO_ACTIVE_LOW>, /* D10 */
		   <&gpio0 25 GPIO_ACTIVE_LOW>;
	mx25r64: mx25r6435f@1 {
		compatible = "jedec,spi-nor";
		reg = <1>;
		status = "okay";
		spi-max-frequency = <8000000>;
		jedec-id = [c2 28 17];
		sfdp-bfp = [
			e5 20 f1 ff  ff ff ff 03  44 eb 08 6b  08 3b 04 bb
			ee ff ff ff  ff ff 00 ff  ff ff 00 ff  0c 20 0f 52
			10 d8 00 ff  23 72 f5 00  82 ed 04 cc  44 83 68 44
			30 b0 30 b0  f7 c4 d5 5c  00 be 29 ff  f0 d0 ff ff
		];
		size = <67108864>;
		mxicy,mx25r-power-mode = "high-performance";
	};
};

/ {
	aliases {
		ext-flash = &mx25r64;
	};

	/* Configure partition manager to use mx25r64 as the external flash */
	chosen {
		nordic,pm-ext-flash = &mx25r64;
	};
};
```

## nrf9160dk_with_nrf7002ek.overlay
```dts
/*
 * Copyright (c) 2022 Nordic Semiconductor ASA
 *
 * SPDX-License-Identifier: LicenseRef-Nordic-5-Clause
 */

/* Use high drive mode on SPI pins that handle communication with nRF7002
 * so that SCK frequency > 4 MHz can be used. */
 &spi3_default {
	group1 {
		nordic,drive-mode = <NRF_DRIVE_H0H1>;
	};
};

/* Disabled because of conflicts on P0.00 and P0.01 - Arduino pins D0 and D1
 * (iovdd-ctrl-gpios and bucken-gpios in nrf7002ek, respectively). */
&uart1 {
	status = "disabled";
};
```

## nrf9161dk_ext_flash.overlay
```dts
/*
 * Copyright (c) 2023 Nordic Semiconductor ASA
 *
 * SPDX-License-Identifier: LicenseRef-Nordic-5-Clause
 */

&gd25lb256 {
	status = "okay";
};

/ {
	aliases {
		ext-flash = &gd25lb256;
	};

	/* Configure partition manager to use gd25lb256 as the external flash */
	chosen {
		nordic,pm-ext-flash = &gd25lb256;
	};
};
```

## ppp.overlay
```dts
/*
 * Copyright (c) 2021 Nordic Semiconductor ASA
 *
 * SPDX-License-Identifier: LicenseRef-Nordic-5-Clause
 */
&uart0 {
	compatible = "nordic,nrf-uarte";
	status = "okay";
	hw-flow-control;
};

/* Enable uart1. Note: cannot be used with T-FM.
 * See: https://github.com/zephyrproject-rtos/zephyr/commit/0856e4ba518d32576ed1800a4b70a33617196474
 */
&uart1 {
	status = "okay";
};

/ {
	chosen {
		zephyr,ppp-uart = &uart0;
		zephyr,console = &uart1;
		zephyr,shell-uart = &uart1;
	};
};
```

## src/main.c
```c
/*
 * Copyright (c) 2020 Nordic Semiconductor ASA
 *
 * SPDX-License-Identifier: LicenseRef-Nordic-5-Clause
 */

#include <stdio.h>
#include <string.h>

#include <zephyr/kernel.h>
#include <zephyr/init.h>
#include <nrf_modem.h>

#include <sys/types.h>
#include <zephyr/logging/log_ctrl.h>
#include <zephyr/sys/reboot.h>
#include <zephyr/dfu/mcuboot.h>

#include <zephyr/shell/shell.h>
#if defined(CONFIG_SHELL_BACKEND_SERIAL)
#include <zephyr/shell/shell_uart.h>
#else
#include <zephyr/shell/shell_rtt.h>
#endif

#include <modem/nrf_modem_lib.h>
#include <modem/nrf_modem_lib_trace.h>
#include <modem/at_monitor.h>
#include <modem/modem_info.h>
#include <modem/lte_lc.h>

#include <net/nrf_cloud_os.h>

#include <dk_buttons_and_leds.h>
#include "uart/uart_shell.h"

#if defined(CONFIG_MOSH_PPP)
#include "ppp_ctrl.h"
#endif

#if defined(CONFIG_MOSH_LINK)
#include "link.h"
#endif

#if defined(CONFIG_MOSH_GNSS)
#include "gnss.h"
#endif

#if defined(CONFIG_MOSH_FOTA)
#include "fota.h"
#endif
#if defined(CONFIG_MOSH_WORKER_THREADS)
#include "th/th_ctrl.h"
#endif
#include "mosh_defines.h"
#include "mosh_print.h"

#if defined(CONFIG_MOSH_LOCATION)
#include "location_shell.h"
#endif

#if defined(CONFIG_MOSH_STARTUP_CMDS)
#include "startup_cmd_ctrl.h"
#endif

#if defined(CONFIG_MOSH_AT_CMD_MODE)
#include "at_cmd_mode.h"
#include "at_cmd_mode_sett.h"
#endif

BUILD_ASSERT(IS_ENABLED(CONFIG_SHELL_BACKEND_SERIAL) || IS_ENABLED(CONFIG_SHELL_BACKEND_RTT),
	     "CONFIG_SHELL_BACKEND_SERIAL or CONFIG_SHELL_BACKEND_RTT shell backend must be "
	     "enabled");

/***** Work queue and work item definitions *****/

#define MOSH_COMMON_WORKQ_PRIORITY CONFIG_MOSH_COMMON_WORKQUEUE_PRIORITY
K_THREAD_STACK_DEFINE(mosh_common_workq_stack, CONFIG_MOSH_COMMON_WORKQUEUE_STACK_SIZE);
struct k_work_q mosh_common_work_q;

/* Global variables */
const struct shell *mosh_shell;
struct k_poll_signal mosh_signal;

char mosh_at_resp_buf[MOSH_AT_CMD_RESPONSE_MAX_LEN];
K_MUTEX_DEFINE(mosh_at_resp_buf_mutex);

static const char *modem_crash_reason_get(uint32_t reason)
{
	switch (reason) {
	case NRF_MODEM_FAULT_UNDEFINED:
		return "Undefined fault";

	case NRF_MODEM_FAULT_HW_WD_RESET:
		return "HW WD reset";

	case NRF_MODEM_FAULT_HARDFAULT:
		return "Hard fault";

	case NRF_MODEM_FAULT_MEM_MANAGE:
		return "Memory management fault";

	case NRF_MODEM_FAULT_BUS:
		return "Bus fault";

	case NRF_MODEM_FAULT_USAGE:
		return "Usage fault";

	case NRF_MODEM_FAULT_SECURE_RESET:
		return "Secure control reset";

	case NRF_MODEM_FAULT_PANIC_DOUBLE:
		return "Error handler crash";

	case NRF_MODEM_FAULT_PANIC_RESET_LOOP:
		return "Reset loop";

	case NRF_MODEM_FAULT_ASSERT:
		return "Assert";

	case NRF_MODEM_FAULT_PANIC:
		return "Unconditional SW reset";

	case NRF_MODEM_FAULT_FLASH_ERASE:
		return "Flash erase fault";

	case NRF_MODEM_FAULT_FLASH_WRITE:
		return "Flash write fault";

	case NRF_MODEM_FAULT_POFWARN:
		return "Undervoltage fault";

	case NRF_MODEM_FAULT_THWARN:
		return "Overtemperature fault";

	default:
		return "Unknown reason";
	}
}

void nrf_modem_fault_handler(struct nrf_modem_fault_info *fault_info)
{
	printk("Modem crash reason: 0x%x (%s), PC: 0x%x\n",
		fault_info->reason,
		modem_crash_reason_get(fault_info->reason),
		fault_info->program_counter);

	__ASSERT(false, "Modem crash detected, halting application execution");
}

#if defined(CONFIG_NRF_MODEM_LIB_TRACE_SHELL)
void nrf_modem_lib_trace_callback(enum nrf_modem_lib_trace_event evt)
{
	if (evt == NRF_MODEM_LIB_TRACE_EVT_FULL) {
		mosh_warn("Modem trace storage is full.");
		mosh_print("It is recommended to stop modem tracing before sending.");
		mosh_print("Send or clear modem traces before re-starting.");
	}
}
#endif

static void mosh_print_version_info(void)
{
#if defined(APP_VERSION)
	printk("\nMOSH version:       %s", STRINGIFY(APP_VERSION));
#else
	printk("\nMOSH version:       unknown");
#endif

#if defined(BUILD_ID)
	printk("\nMOSH build id:      v%s", STRINGIFY(BUILD_ID));
#else
	printk("\nMOSH build id:      custom");
#endif

#if defined(BUILD_VARIANT)
#if defined(BRANCH_NAME)
	printk("\nMOSH build variant: %s/%s\n\n", STRINGIFY(BRANCH_NAME), STRINGIFY(BUILD_VARIANT));
#else
	printk("\nMOSH build variant: %s\n\n", STRINGIFY(BUILD_VARIANT));
#endif
#else
	printk("\nMOSH build variant: dev\n\n");
#endif
}

#if defined(CONFIG_DK_LIBRARY)
static void button_handler(uint32_t button_states, uint32_t has_changed)
{
	if (has_changed & button_states & DK_BTN1_MSK) {
		mosh_print("Button 1 pressed - raising a kill signal");
		k_poll_signal_raise(&mosh_signal, MOSH_SIGNAL_KILL);
#if defined(CONFIG_MOSH_WORKER_THREADS)
		th_ctrl_kill_em_all();
#endif
	} else if (has_changed & ~button_states & DK_BTN1_MSK) {
		mosh_print("Button 1 released - resetting a kill signal");
		k_poll_signal_reset(&mosh_signal);
	}

	if (has_changed & button_states & DK_BTN2_MSK) {
		/* printk() used instead of mosh_print() which returns before the printing is
		 * actually finished and UART gets shut down in the meantime causing a jam.
		 */
		printk("\nButton 2 pressed, toggling UART power state\n");
		uart_toggle_power_state();
	}
}
#endif

int main(void)
{
	int err;
	struct k_work_queue_config cfg = {
		.name = "mosh_common_workq",
	};

#if defined(CONFIG_SHELL_BACKEND_SERIAL)
	mosh_shell = shell_backend_uart_get_ptr();
#else
	mosh_shell = shell_backend_rtt_get_ptr();
#endif

	__ASSERT(mosh_shell != NULL, "Failed to get shell backend");

	mosh_print_version_info();

#if defined(CONFIG_NRF_CLOUD_REST) || defined(CONFIG_NRF_CLOUD_MQTT)
#if defined(CONFIG_MOSH_IPERF3)
	/* Due to iperf3, we cannot let nrf cloud lib to initialize cJSON lib to be
	 * using kernel heap allocations (i.e. k_ prepending functions).
	 * Thus, we use standard c alloc/free, i.e. "system heap".
	 */
	struct nrf_cloud_os_mem_hooks hooks = {
		.malloc_fn = malloc,
		.calloc_fn = calloc,
		.free_fn = free,
	};
#else
	/* else: we default to Kernel heap */
	struct nrf_cloud_os_mem_hooks hooks = {
		.malloc_fn = k_malloc,
		.calloc_fn = k_calloc,
		.free_fn = k_free,
	};
#endif

	nrf_cloud_os_mem_hooks_init(&hooks);
#endif

	k_work_queue_start(
		&mosh_common_work_q,
		mosh_common_workq_stack,
		K_THREAD_STACK_SIZEOF(mosh_common_workq_stack),
		MOSH_COMMON_WORKQ_PRIORITY,
		&cfg);

	err = nrf_modem_lib_init();
	if (err) {
		/* Modem library initialization failed. */
		printk("Could not initialize nrf_modem_lib, err %d\n", err);
		printk("Fatal error\n");
		return 0;
	}

	lte_lc_init();
#if defined(CONFIG_MOSH_PPP)
	ppp_ctrl_init();
#endif
#if defined(CONFIG_MOSH_WORKER_THREADS)
	th_ctrl_init();
#endif
#if defined(CONFIG_MOSH_FOTA)
	err = fota_init();
	if (err) {
		printk("Could not initialize FOTA: %d\n", err);
	}
#endif

#if defined(CONFIG_MOSH_LOCATION)
	/* Location library should be initialized before LTE normal mode */
	location_ctrl_init();
#endif
#if defined(CONFIG_LTE_LINK_CONTROL) && defined(CONFIG_MOSH_LINK)
	link_init();
#endif

#if defined(CONFIG_MODEM_INFO)
	err = modem_info_init();
	if (err) {
		printk("Modem info could not be established: %d\n", err);
		return 0;
	}
#endif

#if defined(CONFIG_DK_LIBRARY)
	err = dk_buttons_init(button_handler);
	if (err) {
		printk("Failed to initialize DK buttons library, error: %d\n", err);
	}
	err = dk_leds_init();
	if (err) {
		printk("Cannot initialize LEDs (err: %d)\n", err);
	}
#endif
	/* Application started successfully, mark image as OK to prevent
	 * revert at next reboot.
	 */
#if defined(CONFIG_BOOTLOADER_MCUBOOT)
	boot_write_img_confirmed();
#endif
	k_poll_signal_init(&mosh_signal);

#if defined(CONFIG_SHELL_BACKEND_SERIAL)
	/* Resize terminal width and height of the shell to have proper command editing. */
	shell_execute_cmd(mosh_shell, "resize");
#endif

#if defined(CONFIG_MOSH_STARTUP_CMDS)
	startup_cmd_ctrl_init();
#endif

#if defined(CONFIG_MOSH_AT_CMD_MODE)
	at_cmd_mode_sett_init();
	if (at_cmd_mode_sett_is_autostart_enabled()) {
		/* Start directly in AT cmd mode */
		at_cmd_mode_start(mosh_shell);
	}
#endif

	return 0;
}
```

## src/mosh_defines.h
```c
/*
 * Copyright (c) 2020 Nordic Semiconductor ASA
 *
 * SPDX-License-Identifier: LicenseRef-Nordic-5-Clause
 */

#ifndef MOSH_DEFINES_H
#define MOSH_DEFINES_H

#define MOSH_EMPTY_STRING "\0"

#define MOSH_APN_STR_MAX_LEN (64)
#define MOSH_ARG_NOT_SET -6

#define MOSH_STRING_NULL_CHECK(string) \
	((string != NULL) ? string : MOSH_EMPTY_STRING)

#define MOSH_AT_CMD_RESPONSE_MAX_LEN 2701

enum mosh_signals {
	MOSH_SIGNAL_KILL,
};

#define LOCATION_STATUS_LED            DK_LED1
#define REGISTERED_STATUS_LED          DK_LED3

#endif /* MOSH_DEFINES_H */
```

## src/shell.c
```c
/*
 * Copyright (c) 2020 Nordic Semiconductor ASA
 *
 * SPDX-License-Identifier: LicenseRef-Nordic-5-Clause
 */

#include <stdlib.h>
#include <malloc.h>

#include <zephyr/kernel.h>
#include <zephyr/device.h>
#include <zephyr/sys/sys_heap.h>
#include <zephyr/linker/linker-defs.h>
#include <zephyr/shell/shell.h>
#include <modem/lte_lc.h>
#include <modem/nrf_modem_lib.h>

#if defined(CONFIG_LWM2M_CARRIER)
#include <lwm2m_carrier.h>
#endif
#if defined(CONFIG_MOSH_PING)
#include "ping/icmp_ping_shell.h"
#endif
#if defined(CONFIG_MOSH_SOCK)
#include "sock/sock_shell.h"
#endif
#if defined(CONFIG_MOSH_IPERF3)
#include <zephyr/posix/sys/select.h>
#include <iperf_api.h>
#endif
#if defined(CONFIG_MOSH_LINK)
#if defined(CONFIG_LWM2M_CARRIER)
#include "link.h"
#include <modem/pdn.h>
#include "link_settings.h"
#endif /* CONFIG_LWM2M_CARRIER */
#include "link_shell.h"
#endif /* CONFIG_MOSH_LINK */
#if defined(CONFIG_MOSH_CURL)
#include <nrf_curl.h>
#endif
#if defined(CONFIG_MOSH_SMS)
#include "sms/sms_shell.h"
#endif
#if defined(CONFIG_MOSH_LOCATION)
#include "location_shell.h"
#endif
#if defined(CONFIG_MOSH_PPP)
#include "ppp/ppp_shell.h"
#endif
#if defined(CONFIG_MOSH_REST)
#include "rest_shell.h"
#endif
#include "uart/uart_shell.h"
#include "mosh_print.h"

extern struct k_sem mosh_carrier_lib_initialized;
extern struct k_poll_signal mosh_signal;

#if defined(CONFIG_LWM2M_CARRIER)
void lwm2m_print_err(const lwm2m_carrier_event_t *evt)
{
	const lwm2m_carrier_event_error_t *err = evt->data.error;

	static const char * const strerr[] = {
		[LWM2M_CARRIER_ERROR_NO_ERROR] =
			"No error",
		[LWM2M_CARRIER_ERROR_BOOTSTRAP] =
			"Bootstrap error",
		[LWM2M_CARRIER_ERROR_LTE_LINK_UP_FAIL] =
			"Failed to connect to the LTE network",
		[LWM2M_CARRIER_ERROR_LTE_LINK_DOWN_FAIL] =
			"Failed to disconnect from the LTE network",
		[LWM2M_CARRIER_ERROR_FOTA_FAIL] =
			"Modem firmware update failed",
		[LWM2M_CARRIER_ERROR_CONFIGURATION] =
			"Illegal object configuration detected",
		[LWM2M_CARRIER_ERROR_INIT] =
			"Initialization failure",
		[LWM2M_CARRIER_ERROR_INTERNAL] =
			"Internal failure",
		[LWM2M_CARRIER_ERROR_RUN] =
			"Configuration failure",
	};

	mosh_error("%s, reason %d\n", strerr[err->type], err->value);
}

void lwm2m_print_deferred(const lwm2m_carrier_event_t *evt)
{
	const lwm2m_carrier_event_deferred_t *def = evt->data.deferred;

	static const char *const strdef[] = {
		[LWM2M_CARRIER_DEFERRED_NO_REASON] =
			"No reason given",
		[LWM2M_CARRIER_DEFERRED_PDN_ACTIVATE] =
			"Failed to activate PDN",
		[LWM2M_CARRIER_DEFERRED_BOOTSTRAP_NO_ROUTE] =
			"No route to bootstrap server",
		[LWM2M_CARRIER_DEFERRED_BOOTSTRAP_CONNECT] =
			"Failed to connect to bootstrap server",
		[LWM2M_CARRIER_DEFERRED_BOOTSTRAP_SEQUENCE] =
			"Bootstrap sequence not completed",
		[LWM2M_CARRIER_DEFERRED_SERVER_NO_ROUTE] =
			"No route to server",
		[LWM2M_CARRIER_DEFERRED_SERVER_CONNECT] =
			"Failed to connect to server",
		[LWM2M_CARRIER_DEFERRED_SERVER_REGISTRATION] =
			"Server registration sequence not completed",
		[LWM2M_CARRIER_DEFERRED_SERVICE_UNAVAILABLE] =
			"Server in maintenance mode",
		[LWM2M_CARRIER_DEFERRED_SIM_MSISDN] =
			"Waiting for SIM MSISDN",
	};

	mosh_error("Reason: %s, timeout: %d seconds\n", strdef[def->reason], def->timeout);
}

int lwm2m_carrier_event_handler(const lwm2m_carrier_event_t *event)
{
	int err = 0;

	switch (event->type) {
	case LWM2M_CARRIER_EVENT_INIT:
		mosh_print("LwM2M carrier event: carrier lib initialized");
		k_sem_give(&mosh_carrier_lib_initialized);
		break;
	case LWM2M_CARRIER_EVENT_LTE_LINK_UP:
		mosh_print("LwM2M carrier event: request LTE Link up");
#if defined(CONFIG_LTE_LINK_CONTROL) && defined(CONFIG_MOSH_LINK)
		link_func_mode_set(LTE_LC_FUNC_MODE_NORMAL,
				   link_sett_is_normal_mode_autoconn_rel14_used());
#else
		err = lte_lc_connect_async(NULL);
#endif
		break;
	case LWM2M_CARRIER_EVENT_LTE_LINK_DOWN:
		mosh_print("LwM2M carrier event: request LTE Link down");
#if defined(CONFIG_LTE_LINK_CONTROL) && defined(CONFIG_MOSH_LINK)
		link_func_mode_set(LTE_LC_FUNC_MODE_OFFLINE, false);
#else
		err = lte_lc_offline(NULL);
#endif
		break;
	case LWM2M_CARRIER_EVENT_LTE_POWER_OFF:
		mosh_print("LwM2M carrier event: request LTE Power off");
#if defined(CONFIG_LTE_LINK_CONTROL) && defined(CONFIG_MOSH_LINK)
		link_func_mode_set(LTE_LC_FUNC_MODE_POWER_OFF, false);
#else
		err = lte_lc_power_off(NULL);
#endif
		break;
	case LWM2M_CARRIER_EVENT_BOOTSTRAPPED:
		mosh_print("LwM2M carrier event: bootstrapped");
		break;
	case LWM2M_CARRIER_EVENT_REGISTERED:
		mosh_print("LwM2M carrier event: registered");
		break;
	case LWM2M_CARRIER_EVENT_DEFERRED:
		mosh_print("LwM2M carrier event: deferred");
		lwm2m_print_deferred(event);
		break;
	case LWM2M_CARRIER_EVENT_FOTA_START:
		mosh_print("LwM2M carrier event: fota start");
		break;
	case LWM2M_CARRIER_EVENT_REBOOT:
		mosh_print("LwM2M carrier event: reboot");
		break;
	case LWM2M_CARRIER_EVENT_ERROR:
		mosh_print("LwM2M carrier event: error");
		lwm2m_print_err(event);
		break;
	}

	return err;
}
#endif

int sleep_shell(const struct shell *shell, size_t argc, char **argv)
{
	long sleep_duration = strtol(argv[1], NULL, 10);

	if (sleep_duration > 0) {
		k_sleep(K_SECONDS(sleep_duration));
		return 0;
	}
	mosh_print("sleep: duration must be greater than zero");

	return -EINVAL;
}

#if defined(CONFIG_SYS_HEAP_RUNTIME_STATS)
extern struct sys_heap _system_heap;
#endif

int heap_shell(const struct shell *shell, size_t argc, char **argv)
{
	struct mallinfo system_stats;

#if defined(CONFIG_SYS_HEAP_RUNTIME_STATS)
	int err;
	struct sys_memory_stats kernel_stats;

	err = sys_heap_runtime_stats_get(&_system_heap, &kernel_stats);
	if (err) {
		mosh_error("heap: failed to read kernel heap statistics, error: %d", err);
	} else {
		mosh_print("kernel heap statistics:");
		mosh_print("free:           %6d", kernel_stats.free_bytes);
		mosh_print("allocated:      %6d", kernel_stats.allocated_bytes);
		mosh_print("max. allocated: %6d\n", kernel_stats.max_allocated_bytes);
	}
#endif /* CONFIG_SYS_HEAP_RUNTIME_STATS */

	/* Calculate the system heap maximum size. */
#define USED_RAM_END_ADDR POINTER_TO_UINT(&_end)
#define HEAP_BASE USED_RAM_END_ADDR
#define MAX_HEAP_SIZE (KB(CONFIG_SRAM_SIZE) - (HEAP_BASE - CONFIG_SRAM_BASE_ADDRESS))

	system_stats = mallinfo();

	mosh_print("system heap statistics:");
	mosh_print("max. size:      %6d", MAX_HEAP_SIZE);
	mosh_print("size:           %6d", system_stats.arena);
	mosh_print("free:           %6d", system_stats.fordblks);
	mosh_print("allocated:      %6d", system_stats.uordblks);

	return 0;
}

#if defined(CONFIG_MOSH_IPERF3)
static int cmd_iperf3(const struct shell *shell, size_t argc, char **argv)
{
	(void)iperf_main(argc, argv, NULL, 0, &mosh_signal);
	return 0;
}
#endif

#if defined(CONFIG_MOSH_CURL)
static int cmd_curl(const struct shell *shell, size_t argc, char **argv)
{
	(void)curl_tool_main(argc, argv, &mosh_signal);
	mosh_print("\nDONE");
	return 0;
}
SHELL_CMD_REGISTER(curl, NULL, "For curl usage, just type \"curl --manual\"", cmd_curl);
#endif

#if defined(CONFIG_MOSH_SOCK)
SHELL_CMD_REGISTER(sock, NULL,
	"Commands for socket operations such as connect and send.",
	sock_shell);
#endif

#if defined(CONFIG_MOSH_PING)
SHELL_CMD_REGISTER(ping, NULL, "For ping usage, just type \"ping\"", icmp_ping_shell);
#endif

#if defined(CONFIG_MOSH_IPERF3)
SHELL_CMD_REGISTER(iperf3, NULL, "For iperf3 usage, just type \"iperf3 --manual\"", cmd_iperf3);
#endif

#if defined(CONFIG_MOSH_SMS)
SHELL_CMD_REGISTER(sms, NULL, "Commands for sending and receiving SMS.", sms_shell);
#endif

#if defined(CONFIG_MOSH_LOCATION)
SHELL_CMD_REGISTER(location, NULL,
	"Commands for using the Location library.",
	location_shell);
#endif

#if defined(CONFIG_MOSH_PPP)
SHELL_CMD_REGISTER(ppp, NULL,
	"Commands for controlling PPP.",
	ppp_shell_cmd);
#endif

#if defined(CONFIG_MOSH_REST)
SHELL_CMD_REGISTER(rest, NULL,
	"REST client.",
	rest_shell);
#endif

SHELL_CMD_ARG_REGISTER(sleep, NULL,
	"Sleep for n seconds.",
	sleep_shell, 2, 0);

SHELL_CMD_ARG_REGISTER(heap, NULL,
	"Print heap usage statistics.",
	heap_shell, 1, 0);
```
